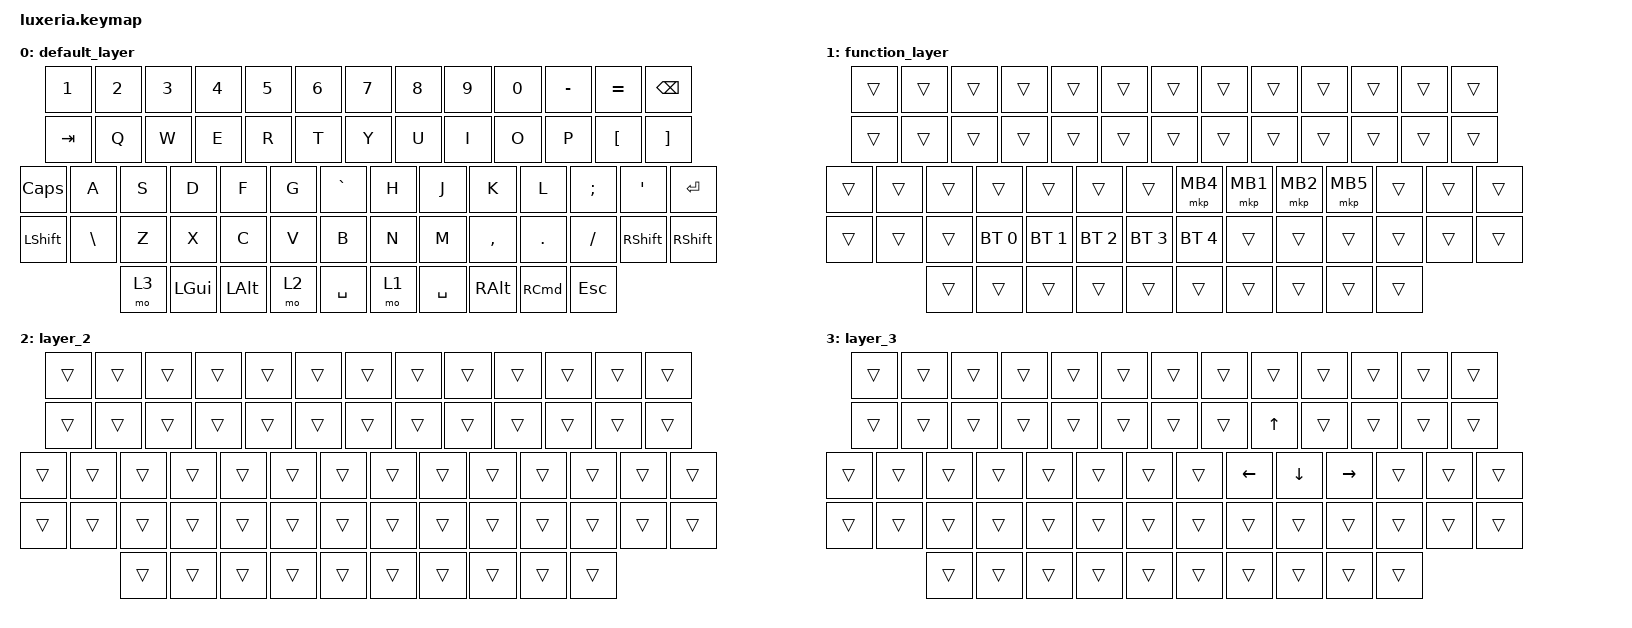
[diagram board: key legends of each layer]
/*
 * Copyright (c) 2024 The ZMK Contributors
 * SPDX-License-Identifier: MIT
 */

#include <dt-bindings/zmk/mouse.h>
#include <behaviors.dtsi>
#include <dt-bindings/zmk/bt.h>
#include <dt-bindings/zmk/keys.h>
#include <dt-bindings/zmk/pointing.h>

/ {
    keymap {
        compatible = "zmk,keymap";

        default_layer {
            bindings = <
&kp NUMBER_1  &kp NUMBER_2  &kp NUMBER_3  &kp NUMBER_4  &kp N5  &kp NUMBER_6    &kp N7  &kp N8  &kp N9  &kp N0  &kp MINUS  &kp EQUAL  &kp BSPC
                                                                                                                                                &kp TAB  &kp Q  &kp W  &kp E  &kp R  &kp T    &kp Y  &kp U  &kp I  &kp O  &kp P  &kp LEFT_BRACKET  &kp RIGHT_BRACKET
                                                                                                                                                                                                                                                                      &kp CAPSLOCK  &kp A  &kp S  &kp D  &kp F  &kp G  &kp GRAVE  &kp H  &kp J  &kp K  &kp L  &kp SEMICOLON  &kp SQT  &kp RETURN
                                                                                                                                                                                                                                                                                                                                                                                                  &kp LSHFT  &kp BACKSLASH  &kp Z  &kp X  &kp C  &kp V  &kp B  &kp N  &kp M  &kp COMMA  &kp PERIOD  &kp SLASH  &kp RSHIFT  &kp RSHFT
                                                                                                                                                                                                                                                                                                                                                                                                                                                                                                                                      &mo 3  &kp LGUI  &kp LALT  &mo 2  &kp SPACE  &mo 1  &kp SPACE  &kp RIGHT_ALT  &kp RIGHT_COMMAND  &kp ESC
            >;
        };

        function_layer {
            bindings = <
&trans  &trans  &trans  &trans  &trans  &trans    &trans  &trans  &trans  &trans  &trans  &trans  &trans
                                                                                                          &trans  &trans  &trans  &trans  &trans  &trans    &trans  &trans  &trans  &trans  &trans  &trans  &trans
                                                                                                                                                                                                                    &trans  &trans  &trans  &trans  &trans  &trans  &trans  &mkp MB4  &mkp MB1  &mkp MB2  &mkp MB5  &trans  &trans  &trans
                                                                                                                                                                                                                                                                                                                                            &trans  &trans  &trans  &bt BT_SEL 0  &bt BT_SEL 1  &bt BT_SEL 2  &bt BT_SEL 3  &bt BT_SEL 4  &trans  &trans  &trans  &trans  &trans  &trans
                                                                                                                                                                                                                                                                                                                                                                                                                                                                                          &trans  &trans  &trans  &trans  &trans  &trans  &trans  &trans  &trans  &trans
            >;
        };

        layer_2 {
            bindings = <
&trans  &trans  &trans  &trans  &trans  &trans    &trans  &trans  &trans  &trans  &trans  &trans  &trans
                                                                                                          &trans  &trans  &trans  &trans  &trans  &trans    &trans  &trans  &trans  &trans  &trans  &trans  &trans
                                                                                                                                                                                                                    &trans  &trans  &trans  &trans  &trans  &trans  &trans  &trans  &trans  &trans  &trans  &trans  &trans  &trans
                                                                                                                                                                                                                                                                                                                                    &trans  &trans  &trans  &trans  &trans  &trans  &trans  &trans  &trans  &trans  &trans  &trans  &trans  &trans
                                                                                                                                                                                                                                                                                                                                                                                                                                                    &trans  &trans  &trans  &trans  &trans  &trans  &trans  &trans  &trans  &trans
            >;
        };

        layer_3 {
            bindings = <
&trans  &trans  &trans  &trans  &trans  &trans    &trans  &trans  &trans  &trans  &trans  &trans  &trans
                                                                                                          &trans  &trans  &trans  &trans  &trans  &trans    &trans  &trans  &kp UP_ARROW  &trans  &trans  &trans  &trans
                                                                                                                                                                                                                          &trans  &trans  &trans  &trans  &trans  &trans  &trans  &trans  &kp LEFT_ARROW  &kp DOWN  &kp RIGHT  &trans  &trans  &trans
                                                                                                                                                                                                                                                                                                                                                       &trans  &trans  &trans  &trans  &trans  &trans  &trans  &trans  &trans  &trans  &trans  &trans  &trans  &trans
                                                                                                                                                                                                                                                                                                                                                                                                                                                                       &trans  &trans  &trans  &trans  &trans  &trans  &trans  &trans  &trans  &trans
            >;
        };
    };
};
